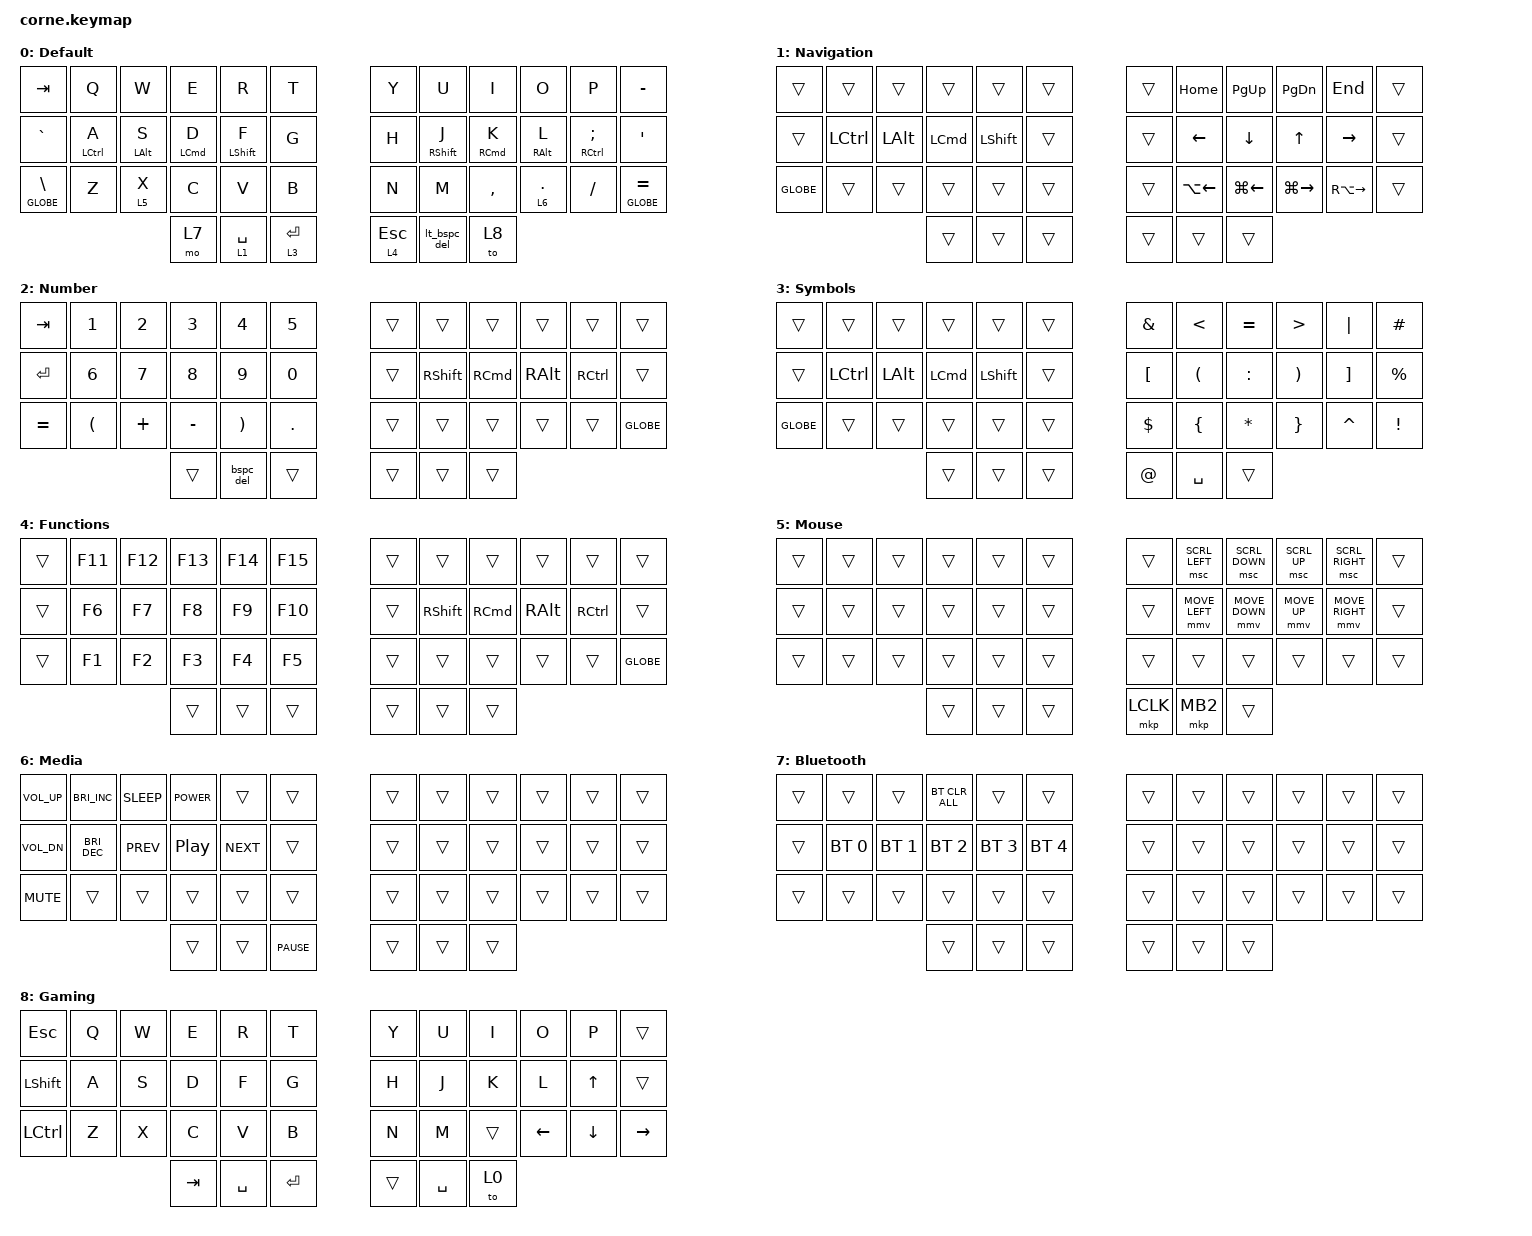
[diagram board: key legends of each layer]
/*
 * Copyright (c) 2020 The ZMK Contributors
 *
 * SPDX-License-Identifier: MIT
 */

#include <behaviors.dtsi>
#include <dt-bindings/zmk/bt.h>
#include <dt-bindings/zmk/keys.h>
#include <dt-bindings/zmk/pointing.h>

/ {
    combos {
        compatible = "zmk,combos";

        capwords {
            bindings = <&caps_word>;
            key-positions = <17 18>;
        };
    };

    behaviors {
        lt_bspc_del: lt_bspc_del {
            compatible = "zmk,behavior-mod-morph";
            label = "LT_BSPC_DEL";
            bindings = <&lt 2 BACKSPACE>, <&kp DELETE>;

            #binding-cells = <0>;
            mods = <(MOD_LSFT|MOD_RSFT)>;
        };

        bspc_del: bspc_del {
            compatible = "zmk,behavior-mod-morph";
            label = "BSPC_DEL";
            bindings = <&kp BACKSPACE>, <&kp DELETE>;

            #binding-cells = <0>;
            mods = <(MOD_LSFT|MOD_RSFT)>;
        };
    };

    keymap {
        compatible = "zmk,keymap";

        base {
            display-name = "Default";

            // -----------------------------------------------------------------------------------------
            // |  TAB |  Q  |  W  |  E  |  R  |  T  |   |  Y  |  U   |  I  |  O  |  P  | BSPC |
            // | CTRL |  A  |  S  |  D  |  F  |  G  |   |  H  |  J   |  K  |  L  |  ;  |  '   |
            // | SHFT |  Z  |  X  |  C  |  V  |  B  |   |  N  |  M   |  ,  |  .  |  /  | ESC  |
            //                    | GUI | LWR | SPC |   | ENT | RSE  | ALT |

            bindings = <
&kp TAB              &kp Q               &kp W           &kp E               &kp R             &kp T          &kp Y      &kp U              &kp I                &kp O            &kp P                   &kp MINUS
&kp GRAVE            &mt LEFT_CONTROL A  &mt LEFT_ALT S  &mt LEFT_COMMAND D  &mt LEFT_SHIFT F  &kp G          &kp H      &mt RIGHT_SHIFT J  &mt RIGHT_COMMAND K  &mt RIGHT_ALT L  &mt RIGHT_CONTROL SEMI  &kp SINGLE_QUOTE
&mt GLOBE BACKSLASH  &kp Z               &lt 5 X         &kp C               &kp V             &kp B          &kp N      &kp M              &kp COMMA            &lt 6 PERIOD     &kp SLASH               &mt GLOBE EQUAL
                                                         &mo 7               &lt 1 SPACE       &lt 3 ENTER    &lt 4 ESC  &lt_bspc_del       &to 8
            >;
        };

        navigation {
            display-name = "Navigation";

            // -----------------------------------------------------------------------------------------
            // |  TAB |  1  |  2  |  3  |  4  |  5  |   |  6  |  7  |  8  |  9  |  0  | BSPC |
            // | BTCLR| BT1 | BT2 | BT3 | BT4 | BT5 |   | LFT | DWN |  UP | RGT |     |      |
            // | SHFT |     |     |     |     |     |   |     |     |     |     |     |      |
            //                    | GUI |     | SPC |   | ENT |     | ALT |

            bindings = <
&trans     &trans            &trans        &trans            &trans          &trans    &trans  &kp HOME            &kp PAGE_UP   &kp PAGE_DOWN  &kp END        &trans
&trans     &kp LEFT_CONTROL  &kp LEFT_ALT  &kp LEFT_COMMAND  &kp LEFT_SHIFT  &trans    &trans  &kp LEFT            &kp DOWN      &kp UP_ARROW   &kp RIGHT      &trans
&kp GLOBE  &trans            &trans        &trans            &trans          &trans    &trans  &kp LA(LEFT_ARROW)  &kp LG(LEFT)  &kp LG(RIGHT)  &kp RA(RIGHT)  &trans
                                           &trans            &trans          &trans    &trans  &trans              &trans
            >;
        };

        number {
            display-name = "Number";

            // -----------------------------------------------------------------------------------------
            // |  TAB |  !  |  @  |  #  |  $  |  %  |   |  ^  |  &  |  *  |  (  |  )  | BSPC |
            // | CTRL |     |     |     |     |     |   |  -  |  =  |  [  |  ]  |  \  |  `   |
            // | SHFT |     |     |     |     |     |   |  _  |  +  |  {  |  }  | "|" |  ~   |
            //                    | GUI |     | SPC |   | ENT |     | ALT |

            bindings = <
&kp TAB    &kp NUMBER_1          &kp NUMBER_2  &kp NUMBER_3  &kp NUMBER_4           &kp NUMBER_5    &trans  &trans           &trans             &trans         &trans             &trans
&kp ENTER  &kp NUMBER_6          &kp NUMBER_7  &kp NUMBER_8  &kp NUMBER_9           &kp NUMBER_0    &trans  &kp RIGHT_SHIFT  &kp RIGHT_COMMAND  &kp RIGHT_ALT  &kp RIGHT_CONTROL  &trans
&kp EQUAL  &kp LEFT_PARENTHESIS  &kp PLUS      &kp MINUS     &kp RIGHT_PARENTHESIS  &kp DOT         &trans  &trans           &trans             &trans         &trans             &kp GLOBE
                                               &trans        &bspc_del              &trans          &trans  &trans           &trans
            >;
        };

        symbols {
            bindings = <
&trans     &trans            &trans        &trans            &trans          &trans    &kp AMPERSAND     &kp LESS_THAN         &kp EQUAL     &kp GREATER_THAN       &kp PIPE           &kp HASH
&trans     &kp LEFT_CONTROL  &kp LEFT_ALT  &kp LEFT_COMMAND  &kp LEFT_SHIFT  &trans    &kp LEFT_BRACKET  &kp LEFT_PARENTHESIS  &kp COLON     &kp RIGHT_PARENTHESIS  &kp RIGHT_BRACKET  &kp PERCENT
&kp GLOBE  &trans            &trans        &trans            &trans          &trans    &kp DOLLAR        &kp LEFT_BRACE        &kp ASTERISK  &kp RIGHT_BRACE        &kp CARET          &kp EXCLAMATION
                                           &trans            &trans          &trans    &kp AT_SIGN       &kp SPACE             &trans
            >;

            label = "Symbols";
        };

        funtions {
            bindings = <
&trans  &kp F11  &kp F12  &kp F13  &kp F14  &kp F15    &trans  &trans           &trans             &trans         &trans             &trans
&trans  &kp F6   &kp F7   &kp F8   &kp F9   &kp F10    &trans  &kp RIGHT_SHIFT  &kp RIGHT_COMMAND  &kp RIGHT_ALT  &kp RIGHT_CONTROL  &trans
&trans  &kp F1   &kp F2   &kp F3   &kp F4   &kp F5     &trans  &trans           &trans             &trans         &trans             &kp GLOBE
                          &trans   &trans   &trans     &trans  &trans           &trans
            >;

            label = "Functions";
        };

        mouse {
            bindings = <
&trans  &trans  &trans  &trans  &trans  &trans    &trans     &msc SCRL_LEFT  &msc SCRL_DOWN  &msc SCRL_UP  &msc SCRL_RIGHT  &trans
&trans  &trans  &trans  &trans  &trans  &trans    &trans     &mmv MOVE_LEFT  &mmv MOVE_DOWN  &mmv MOVE_UP  &mmv MOVE_RIGHT  &trans
&trans  &trans  &trans  &trans  &trans  &trans    &trans     &trans          &trans          &trans        &trans           &trans
                        &trans  &trans  &trans    &mkp LCLK  &mkp MB2        &trans
            >;

            label = "Mouse";
        };

        media {
            bindings = <
&kp C_VOLUME_UP  &kp C_BRIGHTNESS_INC  &kp K_SLEEP  &kp K_POWER       &trans      &trans         &trans  &trans  &trans  &trans  &trans  &trans
&kp C_VOL_DN     &kp C_BRIGHTNESS_DEC  &kp C_PREV   &kp C_PLAY_PAUSE  &kp C_NEXT  &trans         &trans  &trans  &trans  &trans  &trans  &trans
&kp K_MUTE       &trans                &trans       &trans            &trans      &trans         &trans  &trans  &trans  &trans  &trans  &trans
                                                    &trans            &trans      &kp C_PAUSE    &trans  &trans  &trans
            >;

            label = "Media";
        };

        bluetooth {
            bindings = <
&trans  &trans        &trans        &bt BT_CLR_ALL  &trans        &trans          &trans  &trans  &trans  &trans  &trans  &trans
&trans  &bt BT_SEL 0  &bt BT_SEL 1  &bt BT_SEL 2    &bt BT_SEL 3  &bt BT_SEL 4    &trans  &trans  &trans  &trans  &trans  &trans
&trans  &trans        &trans        &trans          &trans        &trans          &trans  &trans  &trans  &trans  &trans  &trans
                                    &trans          &trans        &trans          &trans  &trans  &trans
            >;

            label = "Bluetooth";
        };

        gaming {
            bindings = <
&kp ESC    &kp Q  &kp W  &kp E    &kp R      &kp T      &kp Y   &kp U      &kp I   &kp O           &kp P         &trans
&kp LSHFT  &kp A  &kp S  &kp D    &kp F      &kp G      &kp H   &kp J      &kp K   &kp L           &kp UP_ARROW  &trans
&kp LCTRL  &kp Z  &kp X  &kp C    &kp V      &kp B      &kp N   &kp M      &trans  &kp LEFT_ARROW  &kp DOWN      &kp RIGHT
                         &kp TAB  &kp SPACE  &kp RET    &trans  &kp SPACE  &to 0
            >;

            label = "Gaming";
        };
    };
};

&mt { tapping-term-ms = <300>; };
